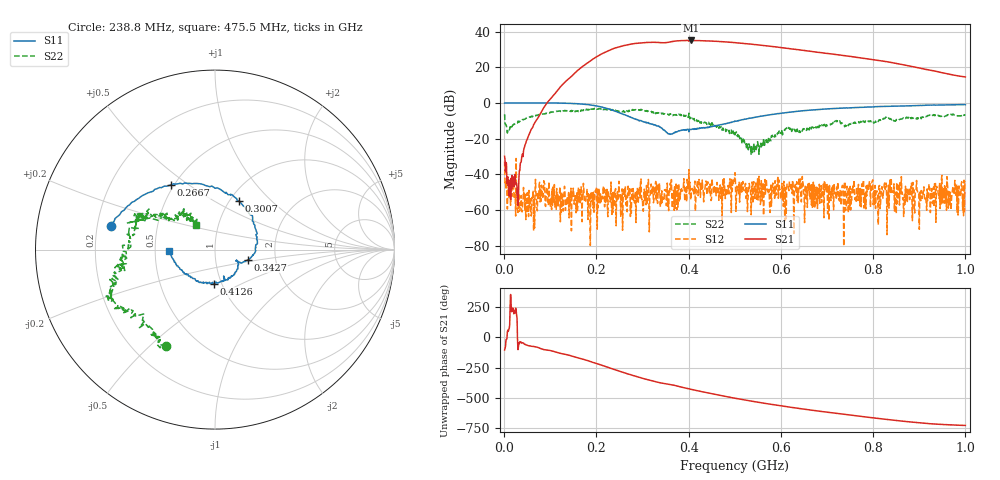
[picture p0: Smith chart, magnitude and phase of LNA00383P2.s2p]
! Created with skrf 1.9.0 (http://scikit-rf.org).
# Hz S RI R 50.0
!freq ReS11 ImS11 ReS21 ImS21 ReS12 ImS12 ReS22 ImS22
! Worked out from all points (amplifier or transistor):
!   1001 points, 1 MHz to 1 GHz, reference 50 ohm
!   highest |S21| = 35.0 dB at 404.6 MHz (marker M1)
!   |S21| within 3 dB of that: 257.5 MHz to 568.7 MHz (311.3 MHz wide, 75.3 % of centre)
!   unconditionally stable (mu >= 1): start of sweep to 67.61 MHz; 296.9 MHz to 400.3 MHz; 400.8 MHz to end of sweep (the widest 3 of 28)
!   at 166.8 MHz: K = 1.32, MAG = 30.0 dB, |S12| = -47.1 dB
!   at 500.5 MHz: K = 1.06, MAG = 35.0 dB, |S12| = -39.1 dB
!   at 1 GHz: K = 2.50, MAG = 22.6 dB, |S12| = -44.3 dB
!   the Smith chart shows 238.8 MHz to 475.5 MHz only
!   S11 on the Smith chart (normalised r, x): 238.8 MHz: 0.26, +0.11; 266.7 MHz: 0.48, +0.43; 300.7 MHz: 1.10, +0.65; 342.7 MHz: 1.44, -0.17; 412.6 MHz: 0.92, -0.36; 475.5 MHz: 0.59, -0.01
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1000000  0.9918 0.0175  -0.00795 -0.0309  -0.00692 0.0219  0.3807 0.2932
1.08892e8  0.504 -0.8576  -0.8233 -1.536  -0.00389 0.00337  0.4249 -0.3717
1.67833e8  -0.2669 -0.8912  -10.02 -0.4594  0.00167 0.00172  0.0576 -0.6296
2.07793e8  -0.6868 -0.3815  -15.68 15.86  0.000225 0.00156  -0.2005 -0.6542
2.38762e8  -0.5816 0.1333  -2.501 33.73  0.00326 0.000665  -0.2731 -0.5371
2.66734e8  -0.2447 0.3615  21.47 36.55  -0.000756 0.000473  -0.4505 -0.3679
3.007e8  0.1327 0.2691  45.09 17.54  -0.00105 -8.46e-05  -0.563 -0.2028
3.18682e8  0.2224 0.1353  49.91 2.768  -0.00525 0.000954  -0.5582 -0.1237
3.34666e8  0.2265 -0.00762  48.23 -10.42  -0.00435 0.00239  -0.5161 -0.0257
3.42658e8  0.1839 -0.0562  46.22 -15.22  -0.0014 0.000815  -0.4955 -0.0125
3.72628e8  0.1316 -0.0834  42.35 -34.31  -0.00133 0.00515  -0.4458 0.154
4.04596e8  0.0382 -0.1746  20.74 -52.28  -0.00109 0.00158  -0.3314 0.1804
4.12588e8  -0.00499 -0.1903  14.65 -53.93  0.000409 0.00523  -0.2632 0.1788
4.41559e8  -0.1473 -0.148  -7.973 -54.22  0.00424 0.00447  -0.198 0.1926
4.75525e8  -0.2542 -0.00648  -28.84 -42.97  0.00224 0.000878  -0.1042 0.1365
5.005e8  -0.2788 0.1344  -38.57 -30.28  0.00965 0.00546  -0.0708 0.1066
5.4046e8  -0.1928 0.3331  -42.57 -8.805  0.00443 -0.00418  -0.0459 0.0348
5.88412e8  0.0126 0.49  -35.34 11.61  0.0025 0.000358  -0.0932 -0.0647
6.67333e8  0.3958 0.4954  -13.43 23.94  0.000467 -0.00505  -0.2052 -0.0498
7.55245e8  0.6821 0.2761  4.223 19.15  0.00136 -0.00315  -0.2577 0.0139
8.34166e8  0.8011 0.021  10.35 9.334  -0.00107 0.00036  -0.3651 -0.00332
1e9  0.7289 -0.5274  5.31 -0.5337  0.00601 -0.00101  -0.3093 0.3294
